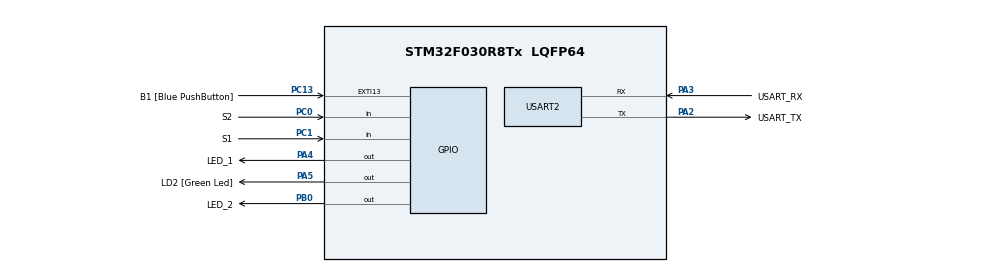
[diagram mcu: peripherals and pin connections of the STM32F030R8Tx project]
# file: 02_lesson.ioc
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Mcu.Family=STM32F0
Mcu.Name=STM32F030R8Tx
Mcu.Package=LQFP64
PA13.GPIO_Label=TMS
PA13.Mode=Serial_Wire
PA13.Signal=SYS_SWDIO
PA14.GPIO_Label=TCK
PA14.Mode=Serial_Wire
PA14.Signal=SYS_SWCLK
PA2.GPIO_Label=USART_TX
PA2.GPIO_Mode=GPIO_MODE_AF_PP
PA2.GPIO_PuPd=GPIO_NOPULL
PA2.GPIO_Speed=GPIO_SPEED_FREQ_LOW
PA2.Mode=Asynchronous
PA2.Signal=USART2_TX
PA3.GPIO_Label=USART_RX
PA3.GPIO_Mode=GPIO_MODE_AF_PP
PA3.GPIO_PuPd=GPIO_NOPULL
PA3.GPIO_Speed=GPIO_SPEED_FREQ_LOW
PA3.Mode=Asynchronous
PA3.Signal=USART2_RX
PA4.GPIO_Label=LED_1
PA4.Signal=GPIO_Output
PA5.GPIO_Label=LD2 [Green Led]
PA5.GPIO_Mode=GPIO_MODE_OUTPUT_PP
PA5.GPIO_PuPd=GPIO_NOPULL
PA5.GPIO_Speed=GPIO_SPEED_FREQ_LOW
PA5.Signal=GPIO_Output
PB0.GPIO_Label=LED_2
PB0.Signal=GPIO_Output
PC0.GPIO_Label=S2
PC0.GPIO_PuPd=GPIO_PULLUP
PC0.Signal=GPIO_Input
PC1.GPIO_Label=S1
PC1.GPIO_PuPd=GPIO_PULLUP
PC1.Signal=GPIO_Input
PC13.GPIO_Label=B1 [Blue PushButton]
PC13.GPIO_ModeDefaultEXTI=GPIO_MODE_IT_FALLING
PC13.Signal=GPXTI13
PC14-OSC32_IN.Mode=LSE-External-Oscillator
PC14-OSC32_IN.Signal=RCC_OSC32_IN
PC15-OSC32_OUT.Mode=LSE-External-Oscillator
PC15-OSC32_OUT.Signal=RCC_OSC32_OUT
PF0-OSC_IN.Mode=HSE-External-Clock-Source
PF0-OSC_IN.Signal=RCC_OSC_IN
PF1-OSC_OUT.Signal=RCC_OSC_OUT
ProjectManager.HeapSize=0x200
ProjectManager.StackSize=0x400
ProjectManager.TargetToolchain=STM32CubeIDE
RCC.AHBFreq_Value=48000000
RCC.APB1Freq_Value=48000000
RCC.APB1TimFreq_Value=48000000
RCC.HCLKFreq_Value=48000000
RCC.PLLMUL=RCC_PLL_MUL12
RCC.SYSCLKFreq_VALUE=48000000
RCC.SYSCLKSource=RCC_SYSCLKSOURCE_PLLCLK
USART2.VirtualMode-Asynchronous=VM_ASYNC
board=NUCLEO-F030R8

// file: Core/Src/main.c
/* USER CODE BEGIN Header */
/**
 ******************************************************************************
 * @file           : main.c
 * @brief          : Main program body
 ******************************************************************************
 * @attention
 *
 * Copyright (c) 2024 STMicroelectronics.
 * All rights reserved.
 *
 * This software is licensed under terms that can be found in the LICENSE file
 * in the root directory of this software component.
 * If no LICENSE file comes with this software, it is provided AS-IS.
 *
 ******************************************************************************
 */
/* USER CODE END Header */
#include "main.h"

/* USER CODE BEGIN PD */
#define BLINK_TIME 300
#define BUTTON_PERIOD 5
#define LED_TIME_SHORT 500
#define LED_TIME_LONG 1000

/* USER CODE END PD */

/* USER CODE BEGIN PV */
volatile uint32_t tick;
/* USER CODE END PV */

void SystemClock_Config(void);
static void MX_GPIO_Init(void);
static void MX_USART2_UART_Init(void);

/* USER CODE BEGIN 0 */
static void blink(){
	static uint32_t last_blink;

	if (tick > last_blink + BLINK_TIME) {
		last_blink = tick;

		//code here
		LL_GPIO_TogglePin(LED_1_GPIO_Port, LED_1_Pin);

	}
}

static void button(){

	static uint32_t off_time;
	/*static uint32_t old_s1;*/
	static uint32_t old_s2;

	/*uint32_t new_s1 = LL_GPIO_IsInputPinSet(S1_GPIO_Port, S1_Pin);*/
	uint32_t new_s2 = LL_GPIO_IsInputPinSet(S2_GPIO_Port, S2_Pin);

/*	if (old_s1 && !new_s1) { // falling edge
		off_time = tick + LED_TIME_LONG;
		LL_GPIO_SetOutputPin(LED_2_GPIO_Port, LED_2_Pin);
	}
	old_s1 = new_s1;
*/
	static uint16_t debounce = 0xFFFF;
	debounce <<=1;

	if (LL_GPIO_IsInputPinSet(S1_GPIO_Port, S1_Pin)){
		debounce |= 0x0001;
	}

	if (debounce == 0x7FFF){
		off_time = tick + LED_TIME_LONG;
		LL_GPIO_SetOutputPin(LED_2_GPIO_Port, LED_2_Pin);
	}

	if (old_s2 && !new_s2) { // falling edge
		off_time = tick + LED_TIME_SHORT;
		LL_GPIO_SetOutputPin(LED_2_GPIO_Port, LED_2_Pin);
	}
	old_s2 = new_s2;

	if(tick > off_time){
		LL_GPIO_ResetOutputPin(LED_2_GPIO_Port, LED_2_Pin);
	}

}
/* USER CODE END 0 */

int main(void)
{

  /* MCU Configuration--------------------------------------------------------*/

  /* Reset of all peripherals, Initializes the Flash interface and the Systick. */
  LL_APB1_GRP2_EnableClock(LL_APB1_GRP2_PERIPH_SYSCFG);
  LL_APB1_GRP1_EnableClock(LL_APB1_GRP1_PERIPH_PWR);

  /* Configure the system clock */
  SystemClock_Config();

  /* Initialize all configured peripherals */
  MX_GPIO_Init();
  MX_USART2_UART_Init();
  /* USER CODE BEGIN 2 */
	LL_SYSTICK_EnableIT();
  /* USER CODE END 2 */

  /* Infinite loop */
  /* USER CODE BEGIN WHILE */
	while (1)
	{

		blink();

		//button handler
		static uint32_t last_tick;

		if (tick > last_tick + BUTTON_PERIOD) {
			last_tick = tick;
			button();
		}

	}
    /* USER CODE END WHILE */

}

void SystemClock_Config(void)
{
  LL_FLASH_SetLatency(LL_FLASH_LATENCY_1);
  while(LL_FLASH_GetLatency() != LL_FLASH_LATENCY_1)
  {
  }
  LL_RCC_HSI_Enable();

   /* Wait till HSI is ready */
  while(LL_RCC_HSI_IsReady() != 1)
  {

  }
  LL_RCC_HSI_SetCalibTrimming(16);
  LL_RCC_PLL_ConfigDomain_SYS(LL_RCC_PLLSOURCE_HSI_DIV_2, LL_RCC_PLL_MUL_12);
  LL_RCC_PLL_Enable();

   /* Wait till PLL is ready */
  while(LL_RCC_PLL_IsReady() != 1)
  {

  }
  LL_RCC_SetAHBPrescaler(LL_RCC_SYSCLK_DIV_1);
  LL_RCC_SetAPB1Prescaler(LL_RCC_APB1_DIV_1);
  LL_RCC_SetSysClkSource(LL_RCC_SYS_CLKSOURCE_PLL);

   /* Wait till System clock is ready */
  while(LL_RCC_GetSysClkSource() != LL_RCC_SYS_CLKSOURCE_STATUS_PLL)
  {

  }
  LL_Init1msTick(48000000);
  LL_SetSystemCoreClock(48000000);
}

static void MX_USART2_UART_Init(void)
{

  LL_USART_InitTypeDef USART_InitStruct = {0};

  LL_GPIO_InitTypeDef GPIO_InitStruct = {0};

  /* Peripheral clock enable */
  LL_APB1_GRP1_EnableClock(LL_APB1_GRP1_PERIPH_USART2);

  LL_AHB1_GRP1_EnableClock(LL_AHB1_GRP1_PERIPH_GPIOA);
  /**USART2 GPIO Configuration
  PA2   ------> USART2_TX
  PA3   ------> USART2_RX
  */
  GPIO_InitStruct.Pin = USART_TX_Pin;
  GPIO_InitStruct.Mode = LL_GPIO_MODE_ALTERNATE;
  GPIO_InitStruct.Speed = LL_GPIO_SPEED_FREQ_LOW;
  GPIO_InitStruct.OutputType = LL_GPIO_OUTPUT_PUSHPULL;
  GPIO_InitStruct.Pull = LL_GPIO_PULL_NO;
  GPIO_InitStruct.Alternate = LL_GPIO_AF_1;
  LL_GPIO_Init(USART_TX_GPIO_Port, &GPIO_InitStruct);

  GPIO_InitStruct.Pin = USART_RX_Pin;
  GPIO_InitStruct.Mode = LL_GPIO_MODE_ALTERNATE;
  GPIO_InitStruct.Speed = LL_GPIO_SPEED_FREQ_LOW;
  GPIO_InitStruct.OutputType = LL_GPIO_OUTPUT_PUSHPULL;
  GPIO_InitStruct.Pull = LL_GPIO_PULL_NO;
  GPIO_InitStruct.Alternate = LL_GPIO_AF_1;
  LL_GPIO_Init(USART_RX_GPIO_Port, &GPIO_InitStruct);

  USART_InitStruct.BaudRate = 38400;
  USART_InitStruct.DataWidth = LL_USART_DATAWIDTH_8B;
  USART_InitStruct.StopBits = LL_USART_STOPBITS_1;
  USART_InitStruct.Parity = LL_USART_PARITY_NONE;
  USART_InitStruct.TransferDirection = LL_USART_DIRECTION_TX_RX;
  USART_InitStruct.HardwareFlowControl = LL_USART_HWCONTROL_NONE;
  USART_InitStruct.OverSampling = LL_USART_OVERSAMPLING_16;
  LL_USART_Init(USART2, &USART_InitStruct);
  LL_USART_DisableIT_CTS(USART2);
  LL_USART_ConfigAsyncMode(USART2);
  LL_USART_Enable(USART2);

}

static void MX_GPIO_Init(void)
{
  LL_EXTI_InitTypeDef EXTI_InitStruct = {0};
  LL_GPIO_InitTypeDef GPIO_InitStruct = {0};

  /* GPIO Ports Clock Enable */
  LL_AHB1_GRP1_EnableClock(LL_AHB1_GRP1_PERIPH_GPIOC);
  LL_AHB1_GRP1_EnableClock(LL_AHB1_GRP1_PERIPH_GPIOF);
  LL_AHB1_GRP1_EnableClock(LL_AHB1_GRP1_PERIPH_GPIOA);
  LL_AHB1_GRP1_EnableClock(LL_AHB1_GRP1_PERIPH_GPIOB);

  /**/
  LL_GPIO_ResetOutputPin(LED_1_GPIO_Port, LED_1_Pin);

  /**/
  LL_GPIO_ResetOutputPin(LD2_GPIO_Port, LD2_Pin);

  /**/
  LL_GPIO_ResetOutputPin(LED_2_GPIO_Port, LED_2_Pin);

  /**/
  LL_SYSCFG_SetEXTISource(LL_SYSCFG_EXTI_PORTC, LL_SYSCFG_EXTI_LINE13);

  /**/
  LL_GPIO_SetPinPull(B1_GPIO_Port, B1_Pin, LL_GPIO_PULL_NO);

  /**/
  LL_GPIO_SetPinMode(B1_GPIO_Port, B1_Pin, LL_GPIO_MODE_INPUT);

  /**/
  EXTI_InitStruct.Line_0_31 = LL_EXTI_LINE_13;
  EXTI_InitStruct.LineCommand = ENABLE;
  EXTI_InitStruct.Mode = LL_EXTI_MODE_IT;
  EXTI_InitStruct.Trigger = LL_EXTI_TRIGGER_FALLING;
  LL_EXTI_Init(&EXTI_InitStruct);

  /**/
  GPIO_InitStruct.Pin = S2_Pin;
  GPIO_InitStruct.Mode = LL_GPIO_MODE_INPUT;
  GPIO_InitStruct.Pull = LL_GPIO_PULL_UP;
  LL_GPIO_Init(S2_GPIO_Port, &GPIO_InitStruct);

  /**/
  GPIO_InitStruct.Pin = S1_Pin;
  GPIO_InitStruct.Mode = LL_GPIO_MODE_INPUT;
  GPIO_InitStruct.Pull = LL_GPIO_PULL_UP;
  LL_GPIO_Init(S1_GPIO_Port, &GPIO_InitStruct);

  /**/
  GPIO_InitStruct.Pin = LED_1_Pin;
  GPIO_InitStruct.Mode = LL_GPIO_MODE_OUTPUT;
  GPIO_InitStruct.Speed = LL_GPIO_SPEED_FREQ_LOW;
  GPIO_InitStruct.OutputType = LL_GPIO_OUTPUT_PUSHPULL;
  GPIO_InitStruct.Pull = LL_GPIO_PULL_NO;
  LL_GPIO_Init(LED_1_GPIO_Port, &GPIO_InitStruct);

  /**/
  GPIO_InitStruct.Pin = LD2_Pin;
  GPIO_InitStruct.Mode = LL_GPIO_MODE_OUTPUT;
  GPIO_InitStruct.Speed = LL_GPIO_SPEED_FREQ_LOW;
  GPIO_InitStruct.OutputType = LL_GPIO_OUTPUT_PUSHPULL;
  GPIO_InitStruct.Pull = LL_GPIO_PULL_NO;
  LL_GPIO_Init(LD2_GPIO_Port, &GPIO_InitStruct);

  /**/
  GPIO_InitStruct.Pin = LED_2_Pin;
  GPIO_InitStruct.Mode = LL_GPIO_MODE_OUTPUT;
  GPIO_InitStruct.Speed = LL_GPIO_SPEED_FREQ_LOW;
  GPIO_InitStruct.OutputType = LL_GPIO_OUTPUT_PUSHPULL;
  GPIO_InitStruct.Pull = LL_GPIO_PULL_NO;
  LL_GPIO_Init(LED_2_GPIO_Port, &GPIO_InitStruct);

}

void Error_Handler(void)
{
	__disable_irq();
	while (1)
	{
	}
}
